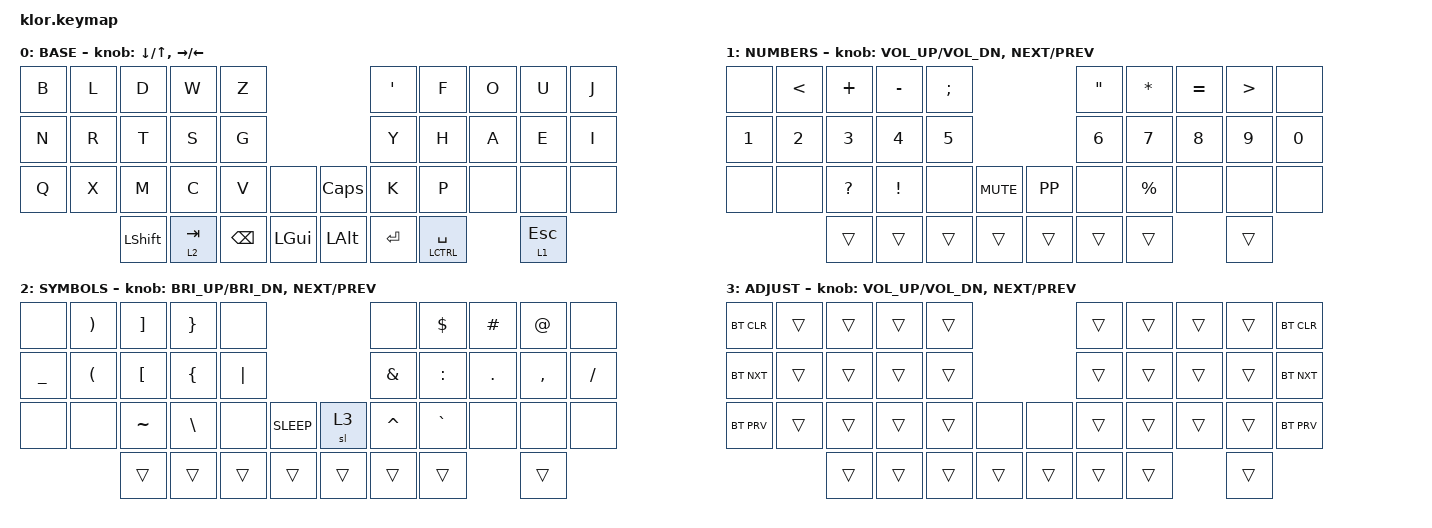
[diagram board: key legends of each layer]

//                               █         █    █            ▄▄▄▀▀▀▀▀▀▄▄▄        █▀▀▀▀▀▀▀▀▀▀█
//                               █        █     █          ▄▀            ▀▄      █          █
//                               █       █      █        ▄▀                ▀▄    █          █
//                               █      █       █        █                  █    █          █
//                               █     █        █       █                    █   █          █
//                               █    █         █       █                    █   █▄▄▄▄▄▄▄▄▄▄█
//                               █   █ █        █       █                    █   █      █
//                               █  █   █       █        █                  █    █       █
//                               █ █     █      █        ▀▄                ▄▀    █        █
//                               ██       █     █          ▀▄            ▄▀      █         █
//                               █         █    █▄▄▄▄▄▄▄▄    ▀▀▀▄▄▄▄▄▄▀▀▀        █          █
//
// ▄▄▄▄▄▄▄▄▄▄▄▄▄▄▄▄▄▄▄▄▄▄▄▄▄▄▄▄▄▄▄▄▄▄▄▄▄▄▄▄▄▄▄▄▄▄▄▄▄▄▄▄▄▄▄▄▄▄▄▄▄▄▄▄▄▄▄▄▄▄▄▄▄▄▄▄▄▄▄▄▄▄▄▄▄▄▄▄▄▄▄▄▄▄▄▄▄▄▄▄▄▄▄▄▄▄▄▄▄▄▄▄▄▄▄▄▄▄▄▄▄▄▄▄▄
       
#include <behaviors.dtsi>
#include <dt-bindings/zmk/keys.h>
#include <dt-bindings/zmk/bt.h>
#include <dt-bindings/zmk/outputs.h>
#include <dt-bindings/zmk/ext_power.h>
#include <dt-bindings/zmk/rgb.h>


#define BASE   0
#define NUMBERS  1
#define SYMBOLS  2
#define ADJUST 3


&sensors {
    left_encoder {
        triggers-per-rotation = <15>;
    };

    right_encoder {
        triggers-per-rotation = <15>;
    };
};

/ {
     keymap {
            compatible = "zmk,keymap";
// ▄▄▄▄▄▄▄▄▄▄▄▄▄▄▄▄▄▄▄▄▄▄▄▄▄▄▄▄▄▄▄▄▄▄▄▄▄▄▄▄▄▄▄▄▄▄▄▄▄▄▄▄▄▄▄▄▄▄▄▄▄▄▄▄▄▄▄▄▄▄▄▄▄▄▄▄▄▄▄▄▄▄▄▄▄▄▄▄▄▄▄▄▄▄▄▄▄▄▄▄▄▄▄▄▄▄▄▄▄▄▄▄▄▄▄▄▄▄▄▄▄▄▄▄▄▄▄▄▄▄▄▄▄▄▄▄▄▄▄▄▄▄


                base_layer {
// ┌───────────────────────────────────────────────────────────┐
label= "BASE"                                                  ;
// └───────────────────────────────────────────────────────────┘
/*           ┌─────────┬─────────┬─────────┬─────────┬─────────┐                    ┌─────────┬─────────┬─────────┬─────────┬─────────┐
             │    B    │    L    │    D    │    W    │    Z    │                    │    '    │    F    │    O    │    U    │    J    │   
   ┌─────────┼─────────┼─────────┼─────────┼─────────┼─────────┤                    ├─────────┼─────────┼─────────┼─────────┼─────────┼─────────┐
   │         │    N    │    R    │    T    │    S    │    G    │                    │    Y    │    H    │    A    │    E    │    I    │         │
   ├─────────┼─────────┼─────────┼─────────┼─────────┼─────────┤╭────────╮╭────────╮├─────────┼─────────┼─────────┼─────────┼─────────┼─────────┤
   │         │    Q    │    X    │    M    │    C    │    V    ││        ││  CAPS  ││    K    │    P    │    ä    │    ö    │    å    │         │
   └─────────┴─────────┴─────────┼─────────┼─────────┼─────────┼╰────────╯╰────────╯┼─────────┼─────────┼─────────┼─────────┴─────────┴─────────┘
                                 │  SHIFT  │  TAB+2  │  BSPCE  │  SUPER  ││   ALT   │  ENTER  │SPCE+CTRL│  ESC+1  │
                                 └─────────┴─────────┴─────────┴─────────┘└─────────┴─────────┴─────────┴─────────┘ */ 
 bindings = <
 //╷         ╷         ╷         ╷         ╷         ╷         ╷         ╷╷         ╷         ╷         ╷         ╷         ╷         ╷         ╷
              &kp B     &kp L     &kp D     &kp W     &kp Z                          &kp SQT   &kp F     &kp O     &kp U     &kp J
              &kp N     &kp R     &kp T     &kp S     &kp G                          &kp Y     &kp H     &kp A     &kp E     &kp I          
              &kp Q     &kp X     &kp M     &kp C     &kp V     &none      &kp CAPS  &kp K     &kp P     &none     &none     &none          
                                  &kp LSHFT &lt 2 TAB &kp BSPC  &kp LGUI   &kp LALT  &kp RET   &lt LCTRL SPACE     &lt 1 ESC    
                        >;
            sensor-bindings = <&inc_dec_kp DOWN UP &inc_dec_kp RIGHT LEFT>;
                };

// ▄▄▄▄▄▄▄▄▄▄▄▄▄▄▄▄▄▄▄▄▄▄▄▄▄▄▄▄▄▄▄▄▄▄▄▄▄▄▄▄▄▄▄▄▄▄▄▄git@github.com:aapokoiv/zmk-config-klor.git▄▄▄▄▄▄▄▄▄▄▄▄▄▄▄▄▄▄▄▄▄▄▄▄▄▄▄▄▄▄▄▄▄▄▄▄▄▄▄▄▄▄▄▄▄▄▄▄▄▄▄▄▄▄▄▄▄▄▄▄▄▄▄▄▄▄▄▄▄▄▄▄▄▄▄▄▄▄▄▄▄▄▄▄▄▄▄▄▄▄▄▄▄▄


                number_layer {
// ┌───────────────────────────────────────────────────────────┐
label= "NUMBERS"                                               ;
// └───────────────────────────────────────────────────────────┘
/*           ┌─────────┬─────────┬─────────┬─────────┬─────────┐                    ┌─────────┬─────────┬─────────┬─────────┬─────────┐
             │         │    <    │    +    │    -    │    ;    │                    │    "    │    *    │    =    │    >    │         │
   ┌─────────┼─────────┼─────────┼─────────┼─────────┼─────────┤                    ├─────────┼─────────┼─────────┼─────────┼─────────┼─────────┐
   │         │    1    │    2    │    3    │    4    │    5    │                    │    6    │    7    │    8    │    9    │    0    │         │
   ├─────────┼─────────┼─────────┼─────────┼─────────┼─────────┤╭────────╮╭────────╮├─────────┼─────────┼─────────┼─────────┼─────────┼─────────┤
   │         │         │         │    ?    │    !    │         ││  MUTE  ││PLY/PASE││         │    %    │    Ä    │    Ö    │    Å    │         │
   └─────────┴─────────┴─────────┼─────────┼─────────┼─────────┼╰────────╯╰────────╯┼─────────┼─────────┼─────────┼─────────┴─────────┴─────────┘
                                 │  SHIFT  │  TAB+2  │  BSPCE  │  SUPER  ││   ALT   │  ENTER  │SPCE+CTRL│  ESC+1  │
                                 └─────────┴─────────┴─────────┴─────────┘└─────────┴─────────┴─────────┴─────────┘ */ 
 bindings = <
 //╷         ╷         ╷         ╷         ╷         ╷         ╷         ╷╷         ╷         ╷         ╷         ╷         ╷         ╷         ╷
              &none     &kp LT    &kp PLUS  &kp MINUS &kp SEMI                       &kp DQT   &kp STAR  &kp EQUAL &kp GT    &none
              &kp N1    &kp N2    &kp N3    &kp N4    &kp N5                         &kp N6    &kp N7    &kp N8    &kp N9    &kp N0         
              &none     &none     &kp QMARK &kp EXCL  &none     &kp C_MUTE &kp K_PP  &none     &kp PRCNT &none     &none     &none          
                                  &trans    &trans    &trans    &trans     &trans    &trans    &trans    &trans
                        >;
            sensor-bindings = <&inc_dec_kp C_VOL_UP C_VOL_DN &inc_dec_kp C_NEXT C_PREV>;
                };

// ▄▄▄▄▄▄▄▄▄▄▄▄▄▄▄▄▄▄▄▄▄▄▄▄▄▄▄▄▄▄▄▄▄▄▄▄▄▄▄▄▄▄▄▄▄▄▄▄▄▄▄▄▄▄▄▄▄▄▄▄▄▄▄▄▄▄▄▄▄▄▄▄▄▄▄▄▄▄▄▄▄▄▄▄▄▄▄▄▄▄▄▄▄▄▄▄▄▄▄▄▄▄▄▄▄▄▄▄▄▄▄▄▄▄▄▄▄▄▄▄▄▄▄▄▄


                symbol_layer {
// ┌───────────────────────────────────────────────────────────┐
label= "SYMBOLS"                                               ;
// └───────────────────────────────────────────────────────────┘
/*           ┌─────────┬─────────┬─────────┬─────────┬─────────┐                    ┌─────────┬─────────┬─────────┬─────────┬─────────┐
             │         │    )    │    ]    │    }    │         │                    │         │    $    │    #    │    @    │         │
   ┌─────────┼─────────┼─────────┼─────────┼─────────┼─────────┤                    ├─────────┼─────────┼─────────┼─────────┼─────────┼─────────┐
   │         │    _    │    (    │    [    │    {    │    |    │                    │    &    │    :    │    .    │    ,    │    /    │         │
   ├─────────┼─────────┼─────────┼─────────┼─────────┼─────────┤╭────────╮╭────────╮├─────────┼─────────┼─────────┼─────────┼─────────┼─────────┤
   │         │         │         │    ~    │    \    │         ││  SLEP  ││ ADJUST ││         │    ^    │    `    │         │         │         │
   └─────────┴─────────┴─────────┼─────────┼─────────┼─────────┼╰────────╯╰────────╯┼─────────┼─────────┼─────────┼─────────┴─────────┴─────────┘
                                 │  SHIFT  │  TAB+2  │  BSPCE  │  SUPER  ││   ALT   │  ENTER  │SPCE+CTRL│  ESC+1  │
                                 └─────────┴─────────┴─────────┴─────────┘└─────────┴─────────┴─────────┴─────────┘ */ 
 bindings = <
 //╷         ╷         ╷         ╷         ╷         ╷         ╷         ╷╷         ╷         ╷         ╷         ╷         ╷         ╷         ╷
              &none     &kp RPAR  &kp RBKT  &kp RBRC  &none                          &none     &kp DLLR  &kp HASH  &kp AT    &none     
              &kp UNDER &kp LPAR  &kp LBKT  &kp LBRC  &kp PIPE                       &kp AMPS  &kp COLON &kp DOT   &kp COMMA &kp FSLH       
              &none     &none     &kp TILDE &kp BSLH  &none     &kp C_SLEEP &sl 3    &kp CARET &kp GRAVE &none     &none     &none          
                                  &trans    &trans    &trans    &trans     &trans    &trans    &trans    &trans  
                        >;
                sensor-bindings = <&inc_dec_kp C_BRI_UP C_BRI_DN &inc_dec_kp C_NEXT C_PREV>;
                };

// ▄▄▄▄▄▄▄▄▄▄▄▄▄▄▄▄▄▄▄▄▄▄▄▄▄▄▄▄▄▄▄▄▄▄▄▄▄▄▄▄▄▄▄▄▄▄▄▄▄▄▄▄▄▄▄▄▄▄▄▄▄▄▄▄▄▄▄▄▄▄▄▄▄▄▄▄▄▄▄▄▄▄▄▄▄▄▄▄▄▄▄▄▄▄▄▄▄▄▄▄▄▄▄▄▄▄▄▄▄▄▄▄▄▄▄▄▄▄▄▄▄▄▄▄▄


                adjust_layer {
// ┌───────────────────────────────────────────────────────────┐
label= "ADJUST"                                                ;
// └───────────────────────────────────────────────────────────┘
/*           ┌─────────┬─────────┬─────────┬─────────┬─────────┐                    ┌─────────┬─────────┬─────────┬─────────┬─────────┐
             │ BT_CLR  │         │         │         │         │                    │         │         │         │         │ BT_CLR  │
   ┌─────────┼─────────┼─────────┼─────────┼─────────┼─────────┤                    ├─────────┼─────────┼─────────┼─────────┼─────────┼─────────┐
   │         │ BT_NXT  │         │         │         │         │                    │         │         │         │         │ BT_NXT  │         │
   ├─────────┼─────────┼─────────┼─────────┼─────────┼─────────┤╭────────╮╭────────╮├─────────┼─────────┼─────────┼─────────┼─────────┼─────────┤
   │         │ BT_PRV  │         │         │         │         ││  MUTE  ││PLY/PASE││         │         │         │         │ BT_PRV  │         │
   └─────────┴─────────┴─────────┼─────────┼─────────┼─────────┼╰────────╯╰────────╯┼─────────┼─────────┼─────────┼─────────┴─────────┴─────────┘
                                 │         │         │         │         ││         │         │         │         │  
                                 └─────────┴─────────┴─────────┴─────────┘└─────────┴─────────┴─────────┴─────────┘ */ 
 bindings = <
 //╷         ╷         ╷         ╷         ╷         ╷         ╷         ╷╷         ╷         ╷         ╷         ╷         ╷         ╷         ╷
             &bt BT_CLR &trans    &trans    &trans    &trans                         &trans    &trans    &trans    &trans    &bt BT_CLR   
             &bt BT_NXT &trans    &trans    &trans    &trans                         &trans    &trans    &trans    &trans    &bt BT_NXT        
             &bt BT_PRV &trans    &trans    &trans    &trans    &none      &none     &trans    &trans    &trans    &trans    &bt BT_PRV            
                                  &trans    &trans    &trans    &trans     &trans    &trans    &trans    &trans    
                        >;
            sensor-bindings = <&inc_dec_kp C_VOL_UP C_VOL_DN &inc_dec_kp C_NEXT C_PREV>;
                };
        };
};
